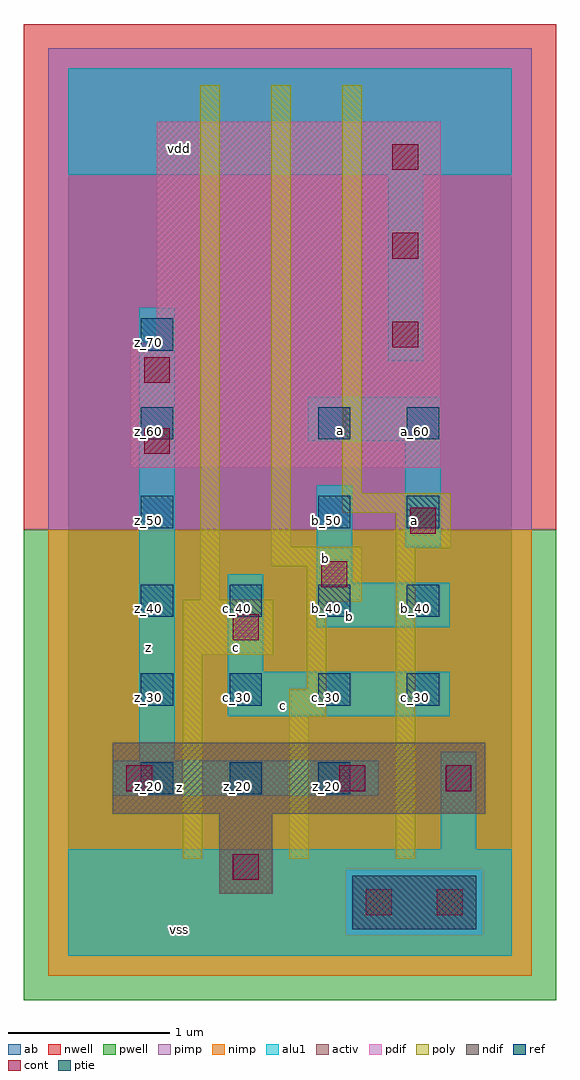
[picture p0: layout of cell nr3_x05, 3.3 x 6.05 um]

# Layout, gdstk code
import gdstk
lib = gdstk.Library(unit=1e-6, precision=2.5e-09)
def R(c, l, rs):  # rectangles x0, y0, x1, y1
    for r in rs: c.add(gdstk.rectangle(r[:2], r[2:], *l))
def A(c, l, x, y, w, h, nx, ny, dx, dy):  # array of equal rectangles
    R(c, l, [(x+i*dx, y+j*dy, x+i*dx+w, y+j*dy+h) for i in range(nx) for j in range(ny)])
ndif = (3, 0)
pdif = (4, 0)
ptie = (6, 0)
ref = (24, 0)
cont = (25, 0)
pwell = (41, 0)
nwell = (42, 0)
activ = (43, 0)
pimp = (44, 0)
nimp = (45, 0)
poly = (46, 0)
alu1 = (49, 0)
ab = (63, 0)

nr3_x05 = lib.new_cell('nr3_x05')
R(nr3_x05, ndif, [(0.935,0.385,1.265,0.88), (0.275,0.88,2.585,1.32)])
R(nr3_x05, pdif, [(0.385,3.025,2.31,3.795), (0.55,3.795,2.31,5.17)])
R(nr3_x05, ptie, [(1.76,0.165,2.53,0.495)])
A(nr3_x05, ref, 0.45, 1, 0.2, 0.2, 3, 1, 0.55, 0)
A(nr3_x05, ref, 0.45, 1.55, 0.2, 0.2, 4, 2, 0.55, 0.55)
A(nr3_x05, ref, 0.45, 2.65, 0.2, 0.2, 1, 3, 0, 0.55)
R(nr3_x05, ref, [(1.55,2.65,1.75,2.85), (2.1,2.65,2.3,2.85), (1.55,3.2,1.75,3.4), (2.1,3.2,2.3,3.4)])
A(nr3_x05, cont, 2.01, 3.77, 0.16, 0.16, 1, 3, 0, 0.55)
R(nr3_x05, cont, [(1.845,0.25,2.005,0.41), (2.285,0.25,2.445,0.41), (1.02,0.47,1.18,0.63), (0.36,1.02,0.52,1.18), (1.68,1.02,1.84,1.18), (2.34,1.02,2.5,1.18), (1.02,1.955,1.18,2.115), (1.57,2.285,1.73,2.445), (2.12,2.615,2.28,2.775), (0.47,3.11,0.63,3.27), (0.47,3.55,0.63,3.71)])
R(nr3_x05, pwell, [(-0.275,-0.275,3.025,2.64)])
R(nr3_x05, nwell, [(-0.275,2.64,3.025,5.775)])
R(nr3_x05, activ, [(1.76,0.165,2.53,0.495), (0.935,0.385,1.265,0.88), (0.275,0.88,2.585,1.32), (0.385,3.025,2.31,3.795), (0.55,3.795,2.31,5.17)])
R(nr3_x05, pimp, [(1.72,0.125,2.57,0.535), (-0.125,2.64,2.875,5.625)])
R(nr3_x05, nimp, [(-0.125,-0.125,2.875,0.125), (-0.125,0.125,1.72,0.535), (2.57,0.125,2.875,0.535), (-0.125,0.535,2.875,2.64)])
R(nr3_x05, poly, [(0.71,0.6,0.83,1.865), (1.37,0.6,1.49,1.48), (2.03,0.6,2.15,2.525), (1.37,1.48,1.6,1.655), (1.48,1.655,1.6,2.195), (0.71,1.865,1.27,2.205), (1.48,2.195,1.82,2.415), (0.82,2.205,0.94,5.395), (1.26,2.415,1.82,2.535), (2.03,2.525,2.37,2.745), (1.26,2.535,1.38,5.395), (1.7,2.745,2.37,2.865), (1.7,2.865,1.82,5.395)])
R(nr3_x05, alu1, [(0,0,2.75,0.66), (2.31,0.66,2.53,1.265), (0.275,0.99,1.925,1.21), (0.44,1.21,0.66,4.015), (0.99,1.485,2.365,1.76), (0.99,1.76,1.21,2.365), (1.54,2.035,2.365,2.31), (1.54,2.31,1.76,2.915), (2.09,2.53,2.31,3.19), (1.485,3.19,2.31,3.465), (1.98,3.685,2.2,4.84), (0,4.84,2.75,5.5)])
R(nr3_x05, ab, [(0,0,2.75,5.5)])
nr3_x05.add(gdstk.Label('vss', (0.6875,0.165), layer=49, texttype=0))
nr3_x05.add(gdstk.Label('z', (0.6875,1.045), layer=49, texttype=0))
nr3_x05.add(gdstk.Label('c', (1.3325,1.5525), layer=49, texttype=0))
nr3_x05.add(gdstk.Label('b', (1.745,2.1025), layer=49, texttype=0))
nr3_x05.add(gdstk.Label('a', (2.145,2.695), layer=49, texttype=0))
nr3_x05.add(gdstk.Label('b', (1.595,2.46), layer=49, texttype=0))
nr3_x05.add(gdstk.Label('c', (1.045,1.91), layer=49, texttype=0))
nr3_x05.add(gdstk.Label('a', (1.69,3.2575), layer=49, texttype=0))
nr3_x05.add(gdstk.Label('z', (0.495,1.91), layer=49, texttype=0))
nr3_x05.add(gdstk.Label('vdd', (0.6875,5.005), layer=49, texttype=0))
nr3_x05.add(gdstk.Label('b_40', (2.15,2.15), layer=24, texttype=0))
nr3_x05.add(gdstk.Label('a_60', (1.6,3.25), layer=24, texttype=0))
nr3_x05.add(gdstk.Label('z_70', (0.5,3.8), layer=24, texttype=0))
nr3_x05.add(gdstk.Label('z_20', (1.6,1.05), layer=24, texttype=0))
nr3_x05.add(gdstk.Label('z_20', (1.05,1.05), layer=24, texttype=0))
nr3_x05.add(gdstk.Label('z_20', (0.5,1.05), layer=24, texttype=0))
nr3_x05.add(gdstk.Label('c_30', (2.15,1.6), layer=24, texttype=0))
nr3_x05.add(gdstk.Label('c_30', (1.6,1.6), layer=24, texttype=0))
nr3_x05.add(gdstk.Label('c_30', (1.05,1.6), layer=24, texttype=0))
nr3_x05.add(gdstk.Label('c_40', (1.05,2.15), layer=24, texttype=0))
nr3_x05.add(gdstk.Label('b_50', (1.6,2.7), layer=24, texttype=0))
nr3_x05.add(gdstk.Label('z_30', (0.5,1.6), layer=24, texttype=0))
nr3_x05.add(gdstk.Label('a_50', (2.15,2.7), layer=24, texttype=0))
nr3_x05.add(gdstk.Label('b_40', (1.6,2.15), layer=24, texttype=0))
nr3_x05.add(gdstk.Label('z_40', (0.5,2.15), layer=24, texttype=0))
nr3_x05.add(gdstk.Label('z_50', (0.5,2.7), layer=24, texttype=0))
nr3_x05.add(gdstk.Label('z_60', (0.5,3.25), layer=24, texttype=0))
nr3_x05.add(gdstk.Label('a_60', (2.15,3.25), layer=24, texttype=0))

lib.write_gds('nr3_x05.gds')
